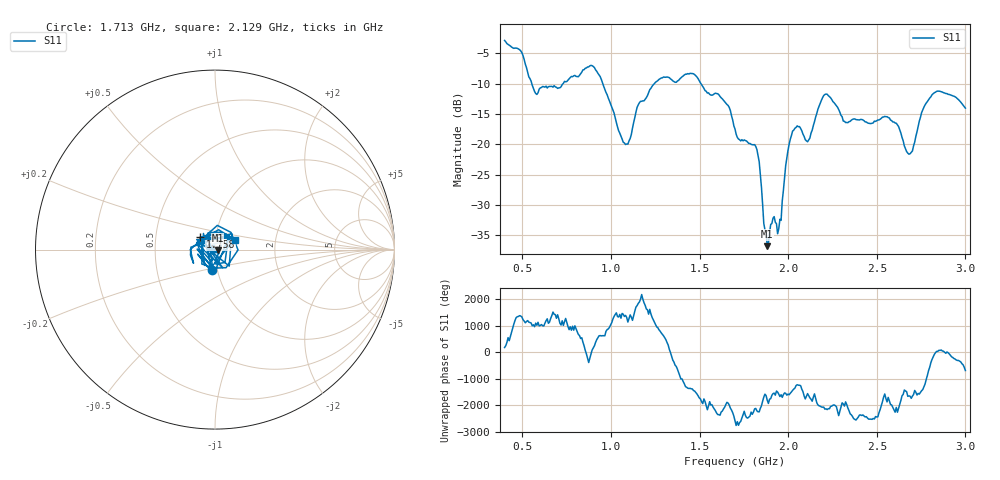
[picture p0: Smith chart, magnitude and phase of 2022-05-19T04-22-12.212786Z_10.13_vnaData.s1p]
!Created with skrf (http://scikit-rf.org).
# Hz S RI R 50.0
!freq ReS11 ImS11
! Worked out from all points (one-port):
!   401 points, 400 MHz to 3 GHz, reference 50 ohm
!   lowest |S11| = -36.8 dB at 1.882 GHz (marker M1), VSWR 1.03, Z = 51.4 - j0.366 ohm
!   |S11| at or under -10 dB: 553.6 MHz to 729.9 MHz (176.3 MHz wide, 27.5 % of centre); 953.9 MHz to 1.245 GHz (291 MHz wide, 26.5 % of centre); 1.508 GHz to end of sweep
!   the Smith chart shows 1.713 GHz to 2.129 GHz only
!   S11 on the Smith chart (normalised r, x): 1.713 GHz: 0.94, -0.22; 1.758 GHz: 0.84, +0.12; 2.129 GHz: 1.24, +0.14
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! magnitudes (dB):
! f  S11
! 400 MHz  -2.9
! 491 MHz  -4.6
! 575.5 MHz  -11.6
! 725 MHz  -10.1
! 900.5 MHz  -7.2
! 1.05 GHz  -18.2
! 1.095 GHz  -20.0
! 1.154 GHz  -13.5
! 1.258 GHz  -9.6
! 1.375 GHz  -9.6
! 1.472 GHz  -8.5
! 1.655 GHz  -13.4
! 1.7 GHz  -17.5
! 1.713 GHz  -18.9
! 1.758 GHz  -19.4
! 1.823 GHz  -20.9
! 1.869 GHz  -34.1
! 1.882 GHz  -36.8
! 1.954 GHz  -32.4
! 1.992 GHz  -22.2
! 2.025 GHz  -17.8
! 2.129 GHz  -18.2
! 2.213 GHz  -11.7
! 2.35 GHz  -16.2
! 2.558 GHz  -15.5
! 2.675 GHz  -21.5
! 2.825 GHz  -11.5
! 3 GHz  -14.0
